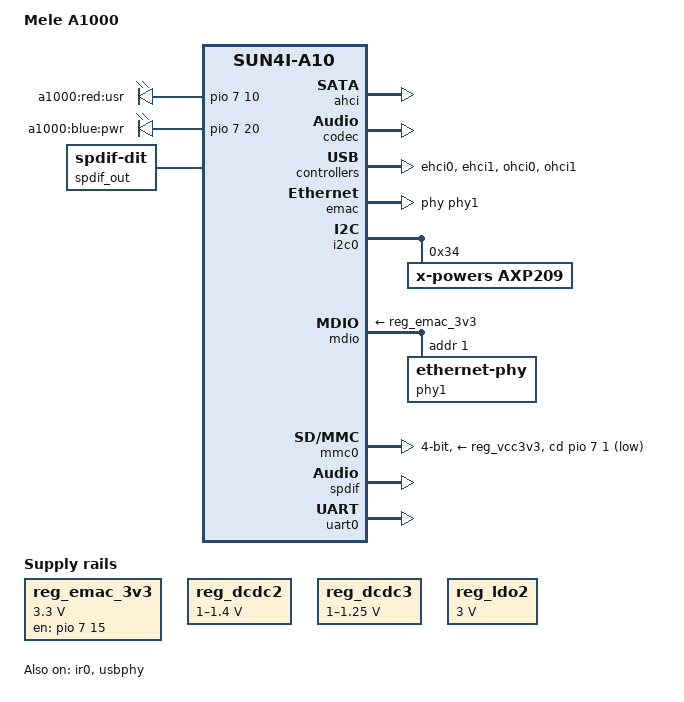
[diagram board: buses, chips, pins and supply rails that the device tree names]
/*
 * Copyright 2013 Emilio López
 *
 * Emilio López <emilio@elopez.com.ar>
 *
 * This file is dual-licensed: you can use it either under the terms
 * of the GPL or the X11 license, at your option. Note that this dual
 * licensing only applies to this file, and not this project as a
 * whole.
 *
 *  a) This file is free software; you can redistribute it and/or
 *     modify it under the terms of the GNU General Public License as
 *     published by the Free Software Foundation; either version 2 of the
 *     License, or (at your option) any later version.
 *
 *     This file is distributed in the hope that it will be useful,
 *     but WITHOUT ANY WARRANTY; without even the implied warranty of
 *     MERCHANTABILITY or FITNESS FOR A PARTICULAR PURPOSE.  See the
 *     GNU General Public License for more details.
 *
 * Or, alternatively,
 *
 *  b) Permission is hereby granted, free of charge, to any person
 *     obtaining a copy of this software and associated documentation
 *     files (the "Software"), to deal in the Software without
 *     restriction, including without limitation the rights to use,
 *     copy, modify, merge, publish, distribute, sublicense, and/or
 *     sell copies of the Software, and to permit persons to whom the
 *     Software is furnished to do so, subject to the following
 *     conditions:
 *
 *     The above copyright notice and this permission notice shall be
 *     included in all copies or substantial portions of the Software.
 *
 *     THE SOFTWARE IS PROVIDED "AS IS", WITHOUT WARRANTY OF ANY KIND,
 *     EXPRESS OR IMPLIED, INCLUDING BUT NOT LIMITED TO THE WARRANTIES
 *     OF MERCHANTABILITY, FITNESS FOR A PARTICULAR PURPOSE AND
 *     NONINFRINGEMENT. IN NO EVENT SHALL THE AUTHORS OR COPYRIGHT
 *     HOLDERS BE LIABLE FOR ANY CLAIM, DAMAGES OR OTHER LIABILITY,
 *     WHETHER IN AN ACTION OF CONTRACT, TORT OR OTHERWISE, ARISING
 *     FROM, OUT OF OR IN CONNECTION WITH THE SOFTWARE OR THE USE OR
 *     OTHER DEALINGS IN THE SOFTWARE.
 */

/dts-v1/;
#include "sun4i-a10.dtsi"
#include "sunxi-common-regulators.dtsi"

#include <dt-bindings/gpio/gpio.h>

/ {
	model = "Mele A1000";
	compatible = "mele,a1000", "allwinner,sun4i-a10";

	aliases {
		serial0 = &uart0;
	};

	chosen {
		stdout-path = "serial0:115200n8";
	};

	leds {
		compatible = "gpio-leds";

		red {
			label = "a1000:red:usr";
			gpios = <&pio 7 10 GPIO_ACTIVE_HIGH>;
		};

		blue {
			label = "a1000:blue:pwr";
			gpios = <&pio 7 20 GPIO_ACTIVE_HIGH>;
			default-state = "on";
		};
	};

	reg_emac_3v3: emac-3v3 {
		compatible = "regulator-fixed";
		regulator-name = "emac-3v3";
		regulator-min-microvolt = <3300000>;
		regulator-max-microvolt = <3300000>;
		startup-delay-us = <20000>;
		enable-active-high;
		gpio = <&pio 7 15 GPIO_ACTIVE_HIGH>;
	};

	sound {
		compatible = "simple-audio-card";
		simple-audio-card,name = "On-board SPDIF";

		simple-audio-card,cpu {
			sound-dai = <&spdif>;
		};

		simple-audio-card,codec {
			sound-dai = <&spdif_out>;
		};
	};

	spdif_out: spdif-out {
		#sound-dai-cells = <0>;
		compatible = "linux,spdif-dit";
	};
};

&ahci {
	status = "okay";
};

&codec {
	status = "okay";
};

&cpu0 {
	cpu-supply = <&reg_dcdc2>;
};

&ehci0 {
	status = "okay";
};

&ehci1 {
	status = "okay";
};

&emac {
	pinctrl-names = "default";
	pinctrl-0 = <&emac_pins>;
	phy = <&phy1>;
	status = "okay";
};

&emac_sram {
	status = "okay";
};

&i2c0 {
	pinctrl-names = "default";
	pinctrl-0 = <&i2c0_pins>;
	status = "okay";

	axp209: pmic@34 {
		compatible = "x-powers,axp209";
		reg = <0x34>;
		interrupts = <0>;

		interrupt-controller;
		#interrupt-cells = <1>;
	};
};

&ir0 {
	pinctrl-names = "default";
	pinctrl-0 = <&ir0_rx_pins>;
	status = "okay";
};

&mdio {
	phy-supply = <&reg_emac_3v3>;
	status = "okay";

	phy1: ethernet-phy@1 {
		reg = <1>;
	};
};

&mmc0 {
	pinctrl-names = "default";
	pinctrl-0 = <&mmc0_pins>;
	vmmc-supply = <&reg_vcc3v3>;
	bus-width = <4>;
	cd-gpios = <&pio 7 1 GPIO_ACTIVE_HIGH>; /* PH1 */
	cd-inverted;
	status = "okay";
};

&ohci0 {
	status = "okay";
};

&ohci1 {
	status = "okay";
};

#include "axp209.dtsi"

&reg_dcdc2 {
	regulator-always-on;
	regulator-min-microvolt = <1000000>;
	regulator-max-microvolt = <1400000>;
	regulator-name = "vdd-cpu";
};

&reg_dcdc3 {
	regulator-always-on;
	regulator-min-microvolt = <1000000>;
	regulator-max-microvolt = <1250000>;
	regulator-name = "vdd-int-dll";
};

&reg_ldo1 {
	regulator-name = "vdd-rtc";
};

&reg_ldo2 {
	regulator-always-on;
	regulator-min-microvolt = <3000000>;
	regulator-max-microvolt = <3000000>;
	regulator-name = "avcc";
};

&reg_usb1_vbus {
	status = "okay";
};

&reg_usb2_vbus {
	status = "okay";
};

&spdif {
	pinctrl-names = "default";
	pinctrl-0 = <&spdif_tx_pin>;
	status = "okay";
};

&uart0 {
	pinctrl-names = "default";
	pinctrl-0 = <&uart0_pb_pins>;
	status = "okay";
};

&usbphy {
	usb1_vbus-supply = <&reg_usb1_vbus>;
	usb2_vbus-supply = <&reg_usb2_vbus>;
	status = "okay";
};
